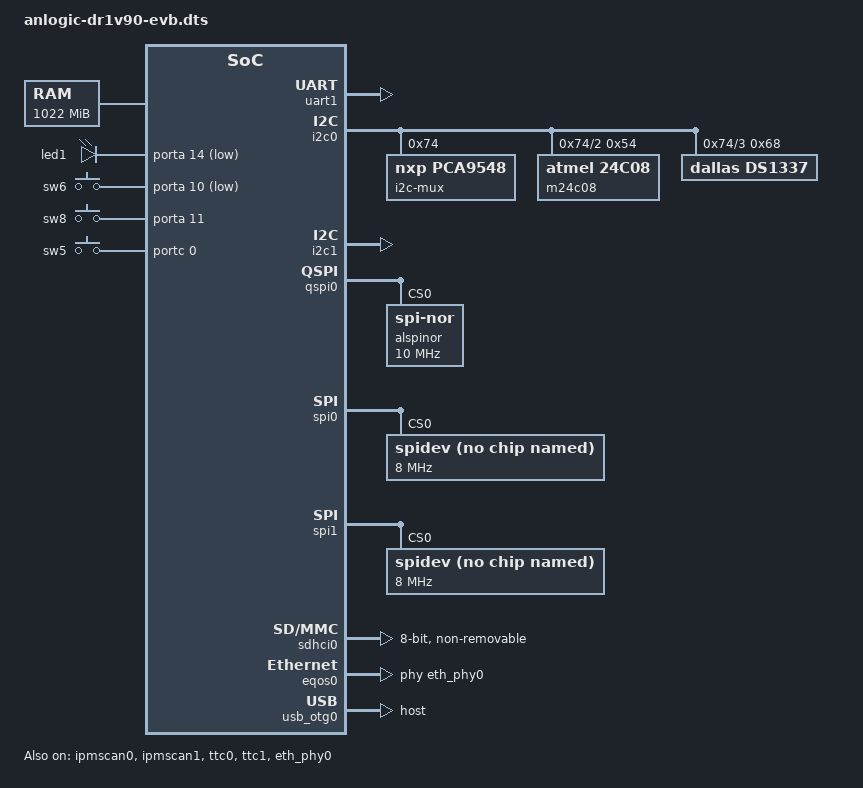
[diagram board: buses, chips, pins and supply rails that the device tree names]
// SPDX-License-Identifier: (GPL-2.0+ OR MIT)

/dts-v1/;
#include "anlogic-dr1v90.dtsi"

#include <dt-bindings/gpio/gpio.h>
#include <dt-bindings/input/input.h>
#include <dt-bindings/leds/common.h>

/ {
	chosen {
		bootargs = "earlycon=sbi console=ttyS0,115200";
	};

	aliases {
		serial0 = &uart1;
		ethernet0 = &eqos0;
		ethernet1 = &eqos1;
	};

	reserved_memory: reserved-memory {
		#address-cells = <2>;
		#size-cells = <2>;
		ranges;

		linux,dma {
			compatible = "shared-dma-pool";
			reg = <0x0 0x10000000 0x0 0x01000000>;
			no-map;
			linux,dma-default;
		};

	};

	memory@0 {
		device_type = "memory";
		reg = <0x0 0x00000000 0x0 0x3fe00000>;
	};

	console {
		compatible = "sbi,console";
	};
};

&cpus {
	timebase-frequency =<600000000>;
};

&cpu0 {
	clock-frequency = <600000000>;
};

&soc {
	UART_CLK: UART_CLK {
		#clock-cells = <0>;
		compatible = "fixed-clock";
		clock-frequency = <50000000>;
		clock-output-names = "UART_CLK";
	};

	CAN_CLK: CAN_CLK {
		#clock-cells = <0>;
		compatible = "fixed-clock";
		clock-frequency = <80000000>;
		clock-output-names = "CAN_CLK";
	};

	GPIO_CLK: GPIO_CLK {
		#clock-cells = <0>;
		compatible = "fixed-clock";
		clock-frequency = <25000000>;
		clock-output-names = "GPIO_CLK";
	};

	IIC_CLK: IIC_CLK {
		#clock-cells = <0>;
		compatible = "fixed-clock";
		clock-frequency = <40000000>;
		clock-output-names = "IIC_CLK";
	};

	WDT_CLK: WDT_CLK {
		#clock-cells = <0>;
		compatible = "fixed-clock";
		clock-frequency = <16666666>;
		clock-output-names = "WDT_CLK";
	};

	DWMMC_CIU_CLK: DWMMC_CIU_CLK {
		#clock-cells = <0>;
		compatible = "fixed-clock";
		clock-frequency = <50000000>;
		clock-output-names = "DWMMC_CIU_CLK";
	};

	DWMMC_BIU_CLK: DWMMC_BIU_CLK {
		#clock-cells = <0>;
		compatible = "fixed-clock";
		clock-frequency = <50000000>;
		clock-output-names = "DWMMC_BIU_CLK";
	};

	GBE_CLK: GBE_CLK {
		#clock-cells = <0>;
		compatible = "fixed-clock";
		clock-frequency = <25000000>;
		clock-output-names = "GBE_CLK";
	};

	PHY_CLK: PHY_CLK {
		#clock-cells = <0>;
		compatible = "fixed-clock";
		clock-frequency = <25000000>;
		clock-output-names = "PHY_CLK";
	};

	PTP_CLK: PTP_CLK {
		#clock-cells = <0>;
		compatible = "fixed-clock";
		clock-frequency = <100000000>;
		clock-output-names = "PTP_CLK";
	};

	leds {
		compatible = "gpio-leds";
		status = "okay";

		led1 {
			gpios = <&porta 14 GPIO_ACTIVE_LOW>;
			linux,default-trigger = "heartbeat";
			status = "okay";
		};

		led2 {
			gpios = <&porta 13 GPIO_ACTIVE_HIGH>;
			linux,default-trigger = "heartbeat";
			status = "disabled";
		};

		led3 {
			gpios = <&porta 12 GPIO_ACTIVE_HIGH>;
			linux,default-trigger = "heartbeat";
			status = "disabled";
		};

	};

	keys {
		compatible = "gpio-keys";

		sw6 {
			gpios = <&porta 10 GPIO_ACTIVE_LOW>;
			linux,code = <103>;
			status = "okay";
		};
		sw8 {
			gpios = <&porta 11 GPIO_ACTIVE_HIGH>;
			linux,code = <108>;
			status = "okay";
		};
		sw5 {
			gpios = <&portc 0 GPIO_ACTIVE_HIGH>;
			linux,code = <108>;
			status = "okay";
		};

	};

	qspi_m_clk: qspi_m_clk {
		#clock-cells = <0>;
		compatible = "fixed-clock";
		clock-frequency = <200000000>;
		clock-output-names = "qspi_m_clk";
	};

	ttc_clk: ttc_clk {
		#clock-cells = <0>;
		compatible = "fixed-clock";
		clock-frequency = <200000000>;
		clock-output-names = "ttc_clk";
	};
};

&uart0 {
	clocks = <&UART_CLK>;
	clock-frequency = <50000000>;
	status = "disabled";
};

&uart1 {
	clocks = <&UART_CLK>;
	clock-frequency = <50000000>;
	status = "okay";
};

&ipmscan0 {
	clocks = <&CAN_CLK>;
	clock-names = "ipms_can_clk";
	status = "okay";
};

&ipmscan1 {
	clocks = <&CAN_CLK>;
	clock-names = "ipms_can_clk";
	status = "okay";
};

&i2c0 {
	clocks = <&IIC_CLK>;
	clock-names = "IIC_CLK";
	status = "okay";

	i2c-mux@74 {
		compatible = "nxp,pca9548";
		#address-cells = <1>;
		#size-cells = <0>;
		reg = <0x74>;
		status = "okay";

		i2c@2 {
			#address-cells = <1>;
			#size-cells = <0>;
			reg = <2>;
			/*
			 * IIC_EEPROM 1kB memory which uses 256B blocks
			 * where every block has different address.
			 *    0 - 256B address 0x54
			 * 256B - 512B address 0x55
			 * 512B - 768B address 0x56
			 * 768B - 1024B address 0x57
			 */
			m24c08: eeprom@54 {
				compatible = "atmel,24c08";
				reg = <0x54>;
				pagesize = <16>;
				address-width = <8>;
				status = "okay";
			};
		};

		i2c@3 {
			#address-cells = <1>;
			#size-cells = <0>;
			reg = <3>;
			ds1337: rtc@68 {
				compatible = "dallas,ds1337";
				reg = <0x68>;
				trickle-resistor-ohms = <250>;
				status = "okay";
			};
		};

	};
};

&i2c1 {
	clocks = <&IIC_CLK>;
	clock-names = "IIC_CLK";
	status = "okay";
};

&watchdog0 {
	clocks = <&WDT_CLK>;
	status = "disabled";
};

&qspi0 {
	clocks = <&qspi_m_clk>;
	status = "okay";

	//spidev@0 {
	//	compatible = "rohm,dh2228fv";
	//	reg = <0>;
	//	spi-max-frequency = <8000000>;
	//};

	flash0: flash@0 {
		compatible = "jedec,spi-nor";
		label = "alspinor";
		reg = <0x0>;
		spi-tx-bus-width = <4>;
		spi-rx-bus-width = <4>;
		spi-max-frequency = <10000000>;
	};
	//num-cs = <2>;
	//cs-gpios = <&gpio0 13 0>,
	//<&gpio0 14 0>;
};

&spi0 {
	clocks = <&qspi_m_clk>;
	status = "okay";
	spidev@0 {
		compatible = "rohm,dh2228fv";
		reg = <0>;
		spi-max-frequency = <8000000>;
	};
};

&spi1 {
	clocks = <&qspi_m_clk>;
	status = "okay";
	spidev@0 {
		compatible = "rohm,dh2228fv";
		reg = <0>;
		spi-max-frequency = <8000000>;
	};
};

&ttc0 {
	clocks = <&ttc_clk>;
	status = "okay";
};

&ttc1 {
	clocks = <&ttc_clk>;
	status = "okay";
};

&sdhci0 {
	dma-noncoherent;
	clocks = <&DWMMC_CIU_CLK>, <&DWMMC_BIU_CLK>;
	clock-names = "core", "bus";
	max-frequency = <50000000>;
	sdhci-caps-mask = <0x00FF0000 0x0600FF00>;
	sdhci-caps = <0x10000 0x3200>;
	bus-width = <8>;
	non-removable;
	broken-cd;
	disable-wp;
	no-sdio;
	no-1-8-v;
	sdhci,auto-cmd12;
	status = "okay";
};

&eqos0 {
	clocks = <&GBE_CLK>,<&PHY_CLK>,<&PTP_CLK>;
	clock-names = "apb_pclk","phy_ref_clk","ptp_ref";
	phy-handle = <&eth_phy0>;
	status = "okay";
};

&eth_phy0 {
	/* Realtek RTL8211F (0x001cc916) */
	status = "okay";
};

&eth_phy1 {
	/* Motorcomm YT8531 (0x4f51e91b) */
	status = "disabled";
};

&eqos1 {
	clocks = <&GBE_CLK>,<&PHY_CLK>,<&PTP_CLK>;
	clock-names = "apb_pclk","phy_ref_clk","ptp_ref";
	phy-handle = <&eth_phy2>;
	status = "disabled";
};

&eth_phy2 {
	/* Realtek RTL8211F (0x001cc916) */
	status = "disabled";
};

&eth_phy3 {
	/* Motorcomm YT8531 (0x4f51e91b) */
	status = "disabled";
};

&usb_otg0 {
	dr_mode = "host";
	g-np-tx-fifo-size = <32>;
	g-rx-fifo-size = <768>;
	g-tx-fifo-size = <768 512 512 32 16 16 16 16 16 16>;
	g-use-dma;
	status = "okay";
};
